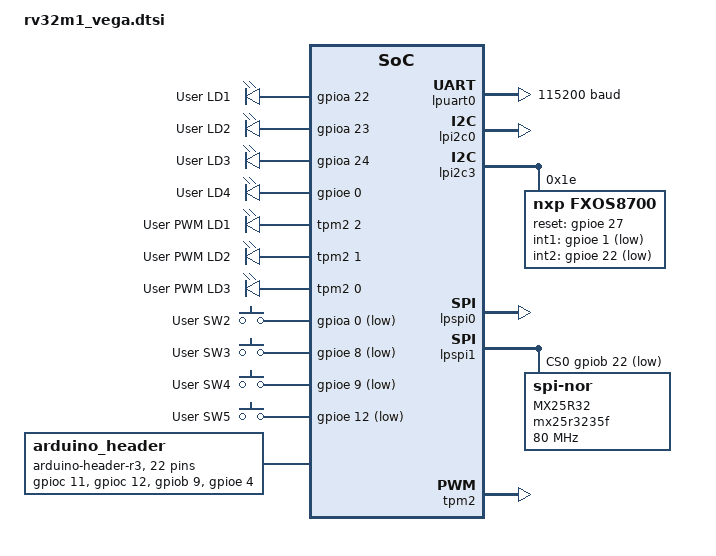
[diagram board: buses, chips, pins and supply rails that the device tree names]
/*
 * Copyright 2018 Foundries.io Ltd
 * SPDX-License-Identifier: Apache-2.0
 */

/ {
	aliases {
		led0 = &green_led;
		led1 = &blue_led;
		led2 = &red_led;
		led3 = &sts_led;
		pwm-led0 = &blue_pwm_led;
		pwm-led1 = &green_pwm_led;
		pwm-led2 = &red_pwm_led;
		blue-pwm-led = &blue_pwm_led;
		green-pwm-led = &green_pwm_led;
		red-pwm-led = &red_pwm_led;
		sw0 = &user_button_2;
		sw1 = &user_button_3;
		sw2 = &user_button_4;
		sw3 = &user_button_5;
	};

	leds {
		compatible = "gpio-leds";
		blue_led: led_0 {
			gpios = <&gpioa 22 GPIO_ACTIVE_HIGH>;
			label = "User LD1";
		};
		green_led: led_1 {
			gpios = <&gpioa 23 GPIO_ACTIVE_HIGH>;
			label = "User LD2";
		};
		red_led: led_2 {
			gpios = <&gpioa 24 GPIO_ACTIVE_HIGH>;
			label = "User LD3";
		};
		sts_led: led_3 {
			gpios = <&gpioe 0 GPIO_ACTIVE_HIGH>;
			label = "User LD4";
		};
	};

	pwmleds {
		compatible = "pwm-leds";
		blue_pwm_led: pwm_led_0 {
			pwms = <&tpm2 2 0 0>;
			label = "User PWM LD1";
		};
		green_pwm_led: pwm_led_1 {
			pwms = <&tpm2 1 0 0>;
			label = "User PWM LD2";
		};
		red_pwm_led: pwm_led_2 {
			pwms = <&tpm2 0 0 0>;
			label = "User PWM LD3";
		};
	};

	gpio_keys {
		compatible = "gpio-keys";
		user_button_2: button_0 {
			label = "User SW2";
			gpios = <&gpioa 0 GPIO_ACTIVE_LOW>;
		};
		user_button_3: button_1 {
			label = "User SW3";
			gpios = <&gpioe 8 GPIO_ACTIVE_LOW>;
		};
		user_button_4: button_2 {
			label = "User SW4";
			gpios = <&gpioe 9 GPIO_ACTIVE_LOW>;
		};
		user_button_5: button_3 {
			label = "User SW5";
			gpios = <&gpioe 12 GPIO_ACTIVE_LOW>;
		};
	};

	arduino_header: connector {
		compatible = "arduino-header-r3";
		#gpio-cells = <2>;
		gpio-map-mask = <0xffffffff 0xffffffc0>;
		gpio-map-pass-thru = <0 0x3f>;
		gpio-map = <0 0 &gpioc 11 0>,	/* A0 */
			   <1 0 &gpioc 12 0>,	/* A1 */
			   <2 0 &gpiob 9 0>,	/* A2 */
			   <3 0 &gpioe 4 0>,	/* A3 */
			   <4 0 &gpioe 10 0>,	/* A4 */
			   <5 0 &gpioe 11 0>,	/* A5 */
			   <6 0 &gpioa 25 0>,	/* D0 */
			   <7 0 &gpioa 26 0>,	/* D1 */
			   <8 0 &gpioa 27 0>,	/* D2 */
			   <9 0 &gpiob 13 0>,	/* D3 */
			   <10 0 &gpiob 14 0>,	/* D4 */
			   <11 0 &gpioa 30 0>,	/* D5 */
			   <12 0 &gpioa 31 0>,	/* D6 */
			   <13 0 &gpiob 1 0>,	/* D7 */
			   <14 0 &gpiob 2 0>,	/* D8 */
			   <15 0 &gpiob 3 0>,	/* D9 */
			   <16 0 &gpiob 6 0>,	/* D10 */
			   <17 0 &gpiob 5 0>,	/* D11 */
			   <18 0 &gpiob 7 0>,	/* D12 */
			   <19 0 &gpiob 4 0>,	/* D13 */
			   <20 0 &gpioc 9 0>,	/* D14 */
			   <21 0 &gpioc 10 0>;	/* D15 */
	};
};

arduino_serial: &lpuart1 {};

&lpuart0 {
	current-speed = <115200>;
	status = "okay";
};

arduino_i2c: &lpi2c0 {
	status = "okay";
};

&lpi2c3 {
	status = "okay";

	fxos8700@1e {
		compatible = "nxp,fxos8700";
		reg = <0x1e>;
		label = "FXOS8700";
		reset-gpios = <&gpioe 27 GPIO_ACTIVE_HIGH>;
		int1-gpios = <&gpioe 1 GPIO_ACTIVE_LOW>;
		int2-gpios = <&gpioe 22 GPIO_ACTIVE_LOW>;
	};
};

arduino_spi: &lpspi0 {
	status = "okay";
};

&lpspi1 {
	status = "okay";
	cs-gpios = <&gpiob 22 GPIO_ACTIVE_LOW>;
	mx25r32: mx25r3235f@0 {
		compatible = "jedec,spi-nor";
		reg = <0>;
		spi-max-frequency = <80000000>;
		label = "MX25R32";
		jedec-id = [c2 28 16];
		size = <33554432>;
		has-be32k;
	};
};

&tpm2 {
	status = "okay";
};
